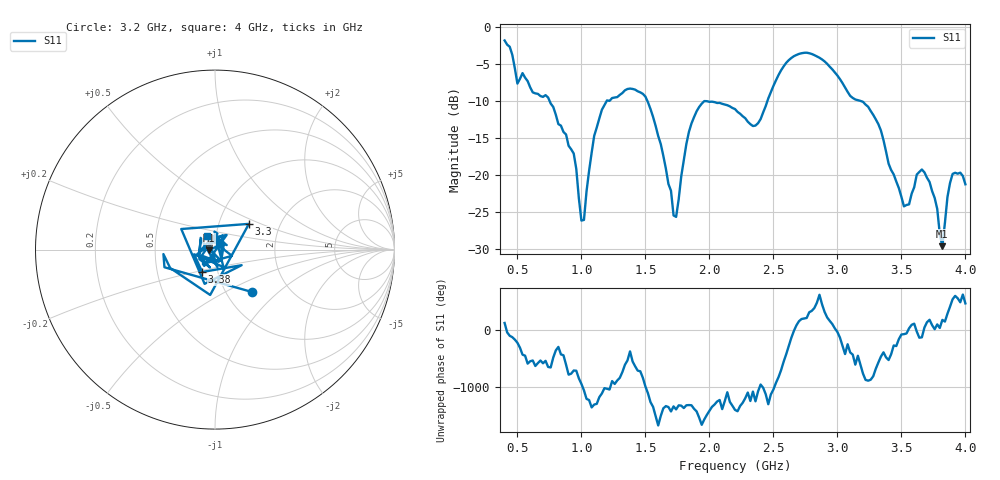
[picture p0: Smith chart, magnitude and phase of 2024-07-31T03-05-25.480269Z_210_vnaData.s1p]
!Created with skrf (http://scikit-rf.org).
# Hz S RI R 50.0
!freq ReS11 ImS11
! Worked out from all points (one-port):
!   181 points, 400 MHz to 4 GHz, reference 50 ohm
!   lowest |S11| = -29.6 dB at 3.82 GHz (marker M1), VSWR 1.07, Z = 46.8 - j0.332 ohm
!   |S11| at or under -10 dB: 750.9 MHz to 1.198 GHz (447.4 MHz wide, 45.9 % of centre); 1.515 GHz to 2.454 GHz (938.9 MHz wide, 47.3 % of centre); 3.177 GHz to end of sweep (the widest 3 of 4)
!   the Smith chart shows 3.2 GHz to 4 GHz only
!   S11 on the Smith chart (normalised r, x): 3.2 GHz: 1.31, -0.68; 3.3 GHz: 1.39, +0.42; 3.38 GHz: 0.84, -0.21; 4 GHz: 0.91, +0.14
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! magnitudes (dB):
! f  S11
! 400 MHz  -1.9
! 500 MHz  -7.7
! 740 MHz  -9.6
! 860 MHz  -14.2
! 940 MHz  -17.1
! 1 GHz  -26.2
! 1.02 GHz  -26.1
! 1.1 GHz  -14.7
! 1.3 GHz  -9.2
! 1.5 GHz  -9.4
! 1.62 GHz  -15.8
! 1.72 GHz  -25.5
! 1.76 GHz  -23.3
! 1.84 GHz  -14.2
! 1.92 GHz  -10.8
! 2.2 GHz  -11.1
! 2.36 GHz  -13.3
! 2.66 GHz  -4.0
! 3.1 GHz  -9.3
! 3.2 GHz  -10.1
! 3.3 GHz  -12.5
! 3.38 GHz  -16.8
! 3.56 GHz  -24.0
! 3.68 GHz  -19.7
! 3.76 GHz  -23.1
! 3.82 GHz  -29.6
! 3.9 GHz  -19.9
! 4 GHz  -21.3
